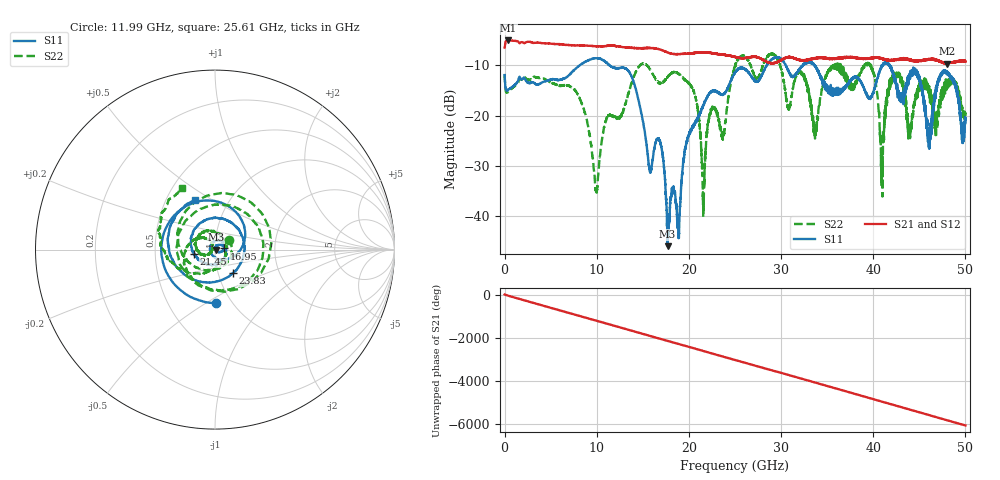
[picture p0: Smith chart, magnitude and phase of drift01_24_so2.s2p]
!Created with skrf (http://scikit-rf.org).
# Hz S RI R 50.0
!freq ReS11 ImS11 ReS21 ImS21 ReS12 ImS12 ReS22 ImS22
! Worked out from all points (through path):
!   10001 points, 300 kHz to 50 GHz, reference 50 ohm
!   highest |S21| = -5.05 dB at 395.3 MHz (marker M1); lowest = -9.6 dB at 48.03 GHz (marker M2)
!   group delay of S21, straight-line fit = 336 ps
!   lowest |S11| = -45.9 dB at 17.69 GHz (marker M3), VSWR 1.01, Z = 50.5 - j0.123 ohm
!   |S11| at or under -10 dB: start of sweep to 8.151 GHz; 11.41 GHz to 28.44 GHz (17.03 GHz wide, 85.5 % of centre); 41.8 GHz to end of sweep (the widest 3 of 14)
!   |S22| runs from -40.2 to -7.7 dB; largest |S21 - S12| = 0.013
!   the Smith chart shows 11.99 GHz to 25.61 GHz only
!   S11 on the Smith chart (normalised r, x): 11.99 GHz: 0.84, -0.55; 16.95 GHz: 1.11, +0.01; 21.45 GHz: 0.79, -0.04; 23.83 GHz: 1.17, -0.32; 25.61 GHz: 0.70, +0.42
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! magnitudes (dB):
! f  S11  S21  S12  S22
! 300 kHz  -11.9  -6.5  -6.5  -11.7
! 395.3 MHz  -14.8  -5.1  -5.1  -15.2
! 8.335 GHz  -9.7  -6.0  -6.0  -17.5
! 9.935 GHz  -8.6  -6.2  -6.2  -34.5
! 11.99 GHz  -10.5  -6.2  -6.1  -20.4
! 15.78 GHz  -31.2  -6.5  -6.5  -10.8
! 16.67 GHz  -24.5  -6.8  -6.8  -13.4
! 16.95 GHz  -25.7  -6.9  -6.9  -13.4
! 17.69 GHz  -45.9  -7.4  -7.4  -12.3
! 20.5 GHz  -21.9  -7.5  -7.6  -15.1
! 21.45 GHz  -18.6  -7.4  -7.4  -30.9
! 22.46 GHz  -15.2  -7.6  -7.6  -18.7
! 23.83 GHz  -15.6  -7.9  -7.9  -23.6
! 25 GHz  -11.4  -8.4  -8.4  -10.2
! 25.61 GHz  -10.5  -8.5  -8.6  -8.2
! 33.34 GHz  -9.5  -8.7  -8.7  -19.8
! 39.51 GHz  -16.5  -8.6  -8.6  -9.9
! 40.95 GHz  -10.1  -8.6  -8.6  -29.1
! 41.67 GHz  -9.8  -8.9  -9.0  -15.5
! 46.08 GHz  -25.8  -8.7  -8.8  -15.3
! 48.03 GHz  -11.7  -9.6  -9.5  -13.0
! 50 GHz  -20.5  -9.2  -9.1  -20.0
